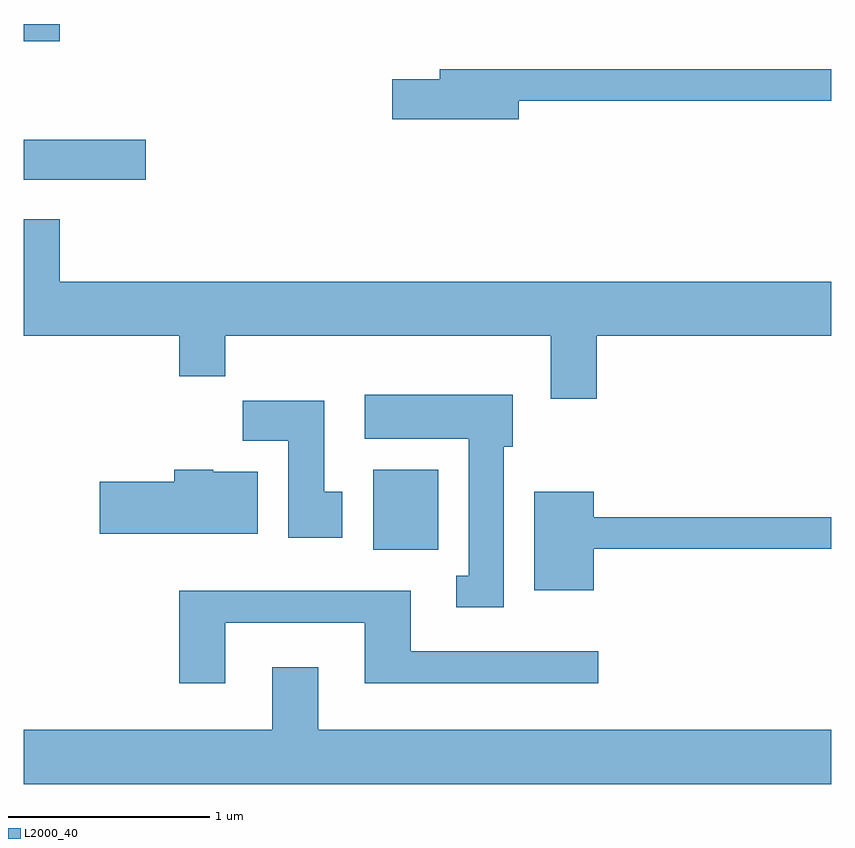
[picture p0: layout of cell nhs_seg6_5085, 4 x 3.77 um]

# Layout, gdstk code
import gdstk
lib = gdstk.Library(unit=1e-6, precision=1e-09)
def R(c, l, rs):  # rectangles x0, y0, x1, y1
    for r in rs: c.add(gdstk.rectangle(r[:2], r[2:], *l))
def P(c, l, *ps):  # polygons
    for p in ps: c.add(gdstk.Polygon(p, *l))
L2000_40 = (2000, 40)

nhs_seg6_5085 = lib.new_cell('nhs_seg6_5085')
R(nhs_seg6_5085, L2000_40, [(341.341,1635.556,341.664,1635.954), (339.611,1637.391,340.214,1637.589), (339.611,1638.076,339.789,1638.162)])
P(nhs_seg6_5085, L2000_40, [(342.064,1637.781),(343.611,1637.781),(343.611,1637.939),(341.671,1637.939),(341.671,1637.889),(341.436,1637.889),(341.436,1637.691),(342.064,1637.691)],
  [(342.449,1636.616),(343.611,1636.616),(343.611,1636.884),(339.789,1636.884),(339.789,1637.194),(339.611,1637.194),(339.611,1636.616),(340.381,1636.616),(340.381,1636.416),(340.609,1636.416),(340.609,1636.616),(342.221,1636.616),(342.221,1636.306),(342.449,1636.306)],
  [(341.989,1636.066),(342.034,1636.066),(342.034,1636.324),(341.301,1636.324),(341.301,1636.106),(341.816,1636.106),(341.816,1635.429),(341.753,1635.429),(341.753,1635.271),(341.989,1635.271)],
  [(341.189,1635.844),(341.099,1635.844),(341.099,1636.294),(340.696,1636.294),(340.696,1636.096),(340.921,1636.096),(340.921,1635.616),(341.189,1635.616)],
  [(340.769,1635.944),(340.55,1635.944),(340.55,1635.954),(340.356,1635.954),(340.356,1635.894),(339.986,1635.894),(339.986,1635.636),(340.769,1635.636)],
  [(342.434,1635.561),(343.611,1635.561),(343.611,1635.719),(342.434,1635.719),(342.434,1635.844),(342.141,1635.844),(342.141,1635.356),(342.434,1635.356)],
  [(340.609,1635.196),(341.301,1635.196),(341.301,1634.896),(342.458,1634.896),(342.458,1635.054),(341.529,1635.054),(341.529,1635.354),(340.381,1635.354),(340.381,1634.896),(340.609,1634.896)],
  [(343.611,1634.664),(341.069,1634.664),(341.069,1634.974),(340.841,1634.974),(340.841,1634.664),(339.611,1634.664),(339.611,1634.396),(343.611,1634.396)])

lib.write_gds('nhs_seg6_5085.gds')
